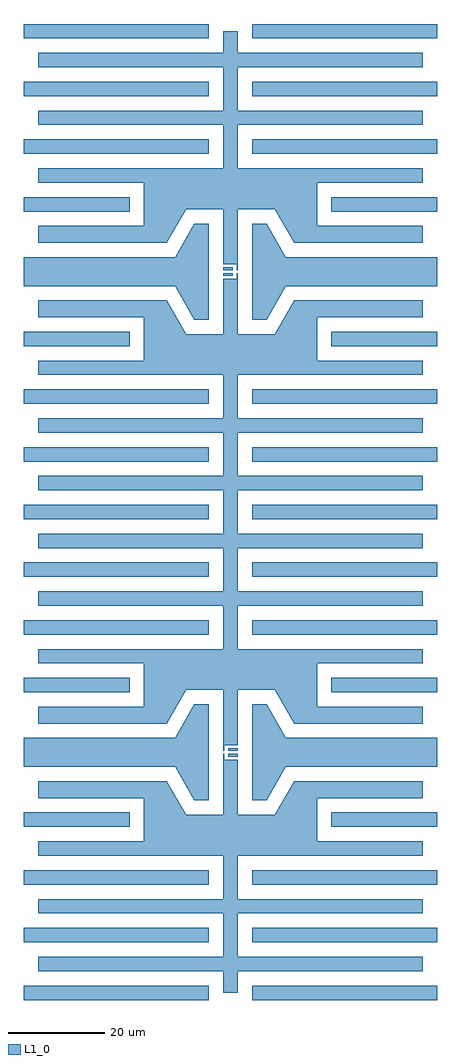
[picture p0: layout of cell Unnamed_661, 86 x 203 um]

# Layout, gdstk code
import gdstk
lib = gdstk.Library(unit=1e-6, precision=1e-09)
def R(c, l, rs):  # rectangles x0, y0, x1, y1
    for r in rs: c.add(gdstk.rectangle(r[:2], r[2:], *l))
def A(c, l, x, y, w, h, nx, ny, dx, dy):  # array of equal rectangles
    R(c, l, [(x+i*dx, y+j*dy, x+i*dx+w, y+j*dy+h) for i in range(nx) for j in range(ny)])
def P(c, l, *ps):  # polygons
    for p in ps: c.add(gdstk.Polygon(p, *l))
L1_0 = (1, 0)

unnamed_661 = lib.new_cell('Unnamed_661')
A(unnamed_661, L1_0, -3, -1.5, 38.5, 3, 1, 3, 0, 12)
A(unnamed_661, L1_0, 44.5, -1.5, 38.5, 3, 1, 3, 0, 12)
A(unnamed_661, L1_0, -3, 74.5, 38.5, 3, 1, 3, 0, 12)
A(unnamed_661, L1_0, 44.5, 74.5, 38.5, 3, 1, 3, 0, 12)
A(unnamed_661, L1_0, -3, 98.5, 38.5, 3, 1, 3, 0, 12)
A(unnamed_661, L1_0, 44.5, 98.5, 38.5, 3, 1, 3, 0, 12)
A(unnamed_661, L1_0, -3, 174.5, 38.5, 3, 1, 3, 0, 12)
A(unnamed_661, L1_0, 44.5, 174.5, 38.5, 3, 1, 3, 0, 12)
R(unnamed_661, L1_0, [(-3,34.5,19,37.5), (61,34.5,83,37.5), (-3,47,28.5,53), (-3,47,28.5,53), (51.5,47,83,53), (51.5,47,83,53), (38.5,48.5,38.7,49.7), (39.5,49.1,41.5,49.7), (38.5,50.3,38.7,51.5), (39.5,50.3,41.5,50.9), (-3,62.5,19,65.5), (61,62.5,83,65.5), (-3,134.5,19,137.5), (61,134.5,83,137.5), (-3,147,28.5,153), (-3,147,28.5,153), (51.5,147,83,153), (51.5,147,83,153), (41.3,148.5,41.5,149.7), (38.5,149.1,40.5,149.7), (38.5,150.3,40.5,150.9), (41.3,150.3,41.5,151.5), (-3,162.5,19,165.5), (61,162.5,83,165.5)])
P(unnamed_661, L1_0, [(38.5,100),(38.5,104.5),(0,104.5),(0,107.5),(38.5,107.5),(38.5,116.5),(0,116.5),(0,119.5),(38.5,119.5),(38.5,128.5),(0,128.5),(0,131.5),(22,131.5),(22,140.5),(0,140.5),(0,144),(26.759,144),(30.759,137),(38.5,137),(38.5,148.5),(40,148.5),(40,100)],
  [(32.5,140),(28.5,147),(28.5,150),(35.5,150),(35.5,140)],
  [(40,100),(40,148.5),(41.5,148.5),(41.5,137),(49.241,137),(53.241,144),(80,144),(80,140.5),(58,140.5),(58,131.5),(80,131.5),(80,128.5),(41.5,128.5),(41.5,119.5),(80,119.5),(80,116.5),(41.5,116.5),(41.5,107.5),(80,107.5),(80,104.5),(41.5,104.5),(41.5,100)],
  [(44.5,140),(44.5,150),(51.5,150),(51.5,147),(47.5,140)],
  [(38.5,151.5),(38.5,163),(30.759,163),(26.759,156),(0,156),(0,159.5),(22,159.5),(22,168.5),(0,168.5),(0,171.5),(38.5,171.5),(38.5,180.5),(0,180.5),(0,183.5),(38.5,183.5),(38.5,192.5),(0,192.5),(0,195.5),(38.5,195.5),(38.5,200),(40,200),(40,151.5)],
  [(28.5,150),(28.5,153),(32.5,160),(35.5,160),(35.5,150)],
  [(40,151.5),(40,200),(41.5,200),(41.5,195.5),(80,195.5),(80,192.5),(41.5,192.5),(41.5,183.5),(80,183.5),(80,180.5),(41.5,180.5),(41.5,171.5),(80,171.5),(80,168.5),(58,168.5),(58,159.5),(80,159.5),(80,156),(53.241,156),(49.241,163),(41.5,163),(41.5,151.5)],
  [(44.5,150),(44.5,160),(47.5,160),(51.5,153),(51.5,150)],
  [(38.5,0),(38.5,4.5),(0,4.5),(0,7.5),(38.5,7.5),(38.5,16.5),(0,16.5),(0,19.5),(38.5,19.5),(38.5,28.5),(0,28.5),(0,31.5),(22,31.5),(22,40.5),(0,40.5),(0,44),(26.759,44),(30.759,37),(38.5,37),(38.5,48.5),(40,48.5),(40,0)],
  [(32.5,40),(28.5,47),(28.5,50),(35.5,50),(35.5,40)],
  [(40,0),(40,48.5),(41.5,48.5),(41.5,37),(49.241,37),(53.241,44),(80,44),(80,40.5),(58,40.5),(58,31.5),(80,31.5),(80,28.5),(41.5,28.5),(41.5,19.5),(80,19.5),(80,16.5),(41.5,16.5),(41.5,7.5),(80,7.5),(80,4.5),(41.5,4.5),(41.5,0)],
  [(44.5,40),(44.5,50),(51.5,50),(51.5,47),(47.5,40)],
  [(38.5,51.5),(38.5,63),(30.759,63),(26.759,56),(0,56),(0,59.5),(22,59.5),(22,68.5),(0,68.5),(0,71.5),(38.5,71.5),(38.5,80.5),(0,80.5),(0,83.5),(38.5,83.5),(38.5,92.5),(0,92.5),(0,95.5),(38.5,95.5),(38.5,100),(40,100),(40,51.5)],
  [(28.5,50),(28.5,53),(32.5,60),(35.5,60),(35.5,50)],
  [(40,51.5),(40,100),(41.5,100),(41.5,95.5),(80,95.5),(80,92.5),(41.5,92.5),(41.5,83.5),(80,83.5),(80,80.5),(41.5,80.5),(41.5,71.5),(80,71.5),(80,68.5),(58,68.5),(58,59.5),(80,59.5),(80,56),(53.241,56),(49.241,63),(41.5,63),(41.5,51.5)],
  [(44.5,50),(44.5,60),(47.5,60),(51.5,53),(51.5,50)])

lib.write_gds('Unnamed_661.gds')
